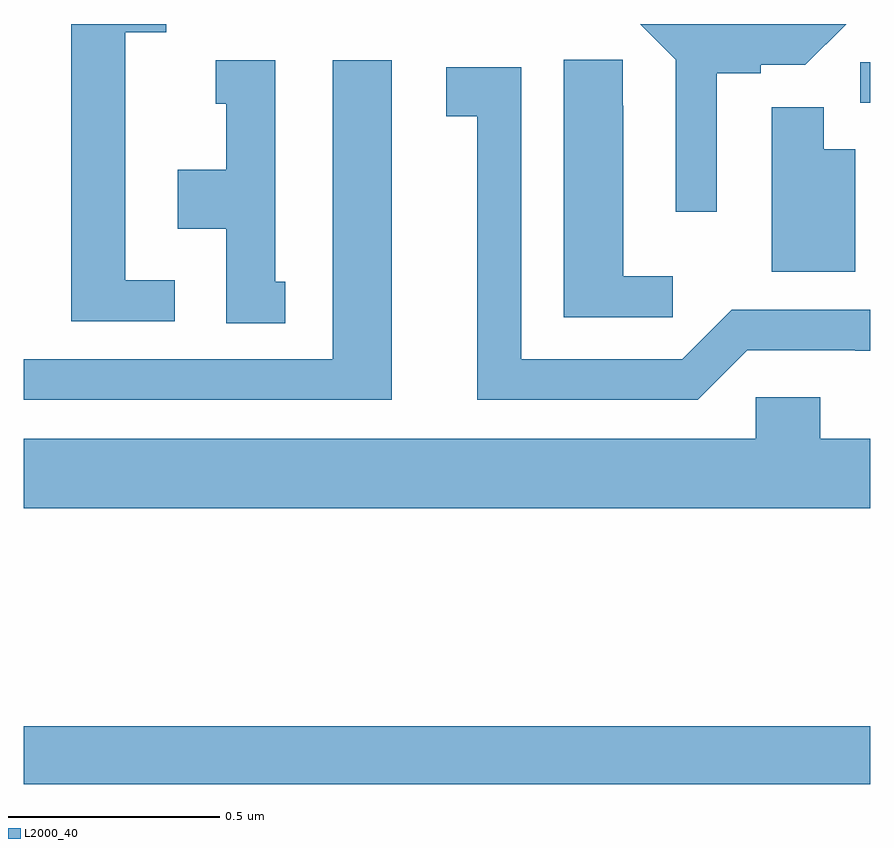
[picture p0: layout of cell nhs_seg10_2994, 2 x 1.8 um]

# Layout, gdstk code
import gdstk
lib = gdstk.Library(unit=1e-6, precision=1e-09)
def R(c, l, rs):  # rectangles x0, y0, x1, y1
    for r in rs: c.add(gdstk.rectangle(r[:2], r[2:], *l))
def P(c, l, *ps):  # polygons
    for p in ps: c.add(gdstk.Polygon(p, *l))
L2000_40 = (2000, 40)

nhs_seg10_2994 = lib.new_cell('nhs_seg10_2994')
R(nhs_seg10_2994, L2000_40, [(148,1259.704,150,1259.84), (149.976,1261.314,150,1261.41)])
P(nhs_seg10_2994, L2000_40, [(148.357,1260.894),(148.24,1260.894),(148.24,1261.48),(148.336,1261.48),(148.336,1261.5),(148.112,1261.5),(148.112,1260.798),(148.357,1260.798)],
  [(149.638,1261.384),(149.742,1261.384),(149.742,1261.404),(149.847,1261.404),(149.943,1261.5),(149.457,1261.5),(149.541,1261.416),(149.541,1261.056),(149.638,1261.056)],
  [(149.533,1260.904),(149.416,1260.904),(149.416,1261.307),(149.415,1261.307),(149.415,1261.415),(149.276,1261.415),(149.276,1260.807),(149.533,1260.807)],
  [(148.87,1261.414),(148.73,1261.414),(148.73,1260.708),(148,1260.708),(148,1260.612),(148.87,1260.612)],
  [(148.618,1260.891),(148.594,1260.891),(148.594,1261.414),(148.454,1261.414),(148.454,1261.311),(148.478,1261.311),(148.478,1261.156),(148.364,1261.156),(148.364,1261.016),(148.478,1261.016),(148.478,1260.793),(148.618,1260.793)],
  [(149.709,1260.729),(149.965,1260.729),(149.965,1260.728),(150,1260.728),(150,1260.825),(149.673,1260.825),(149.556,1260.708),(149.176,1260.708),(149.176,1261.398),(148.998,1261.398),(148.998,1261.282),(149.072,1261.282),(149.072,1260.612),(149.592,1260.612)],
  [(149.965,1261.204),(149.89,1261.204),(149.89,1261.303),(149.768,1261.303),(149.768,1260.914),(149.965,1260.914)],
  [(150,1260.52),(149.882,1260.52),(149.882,1260.618),(149.73,1260.618),(149.73,1260.52),(148,1260.52),(148,1260.356),(150,1260.356)])

lib.write_gds('nhs_seg10_2994.gds')
